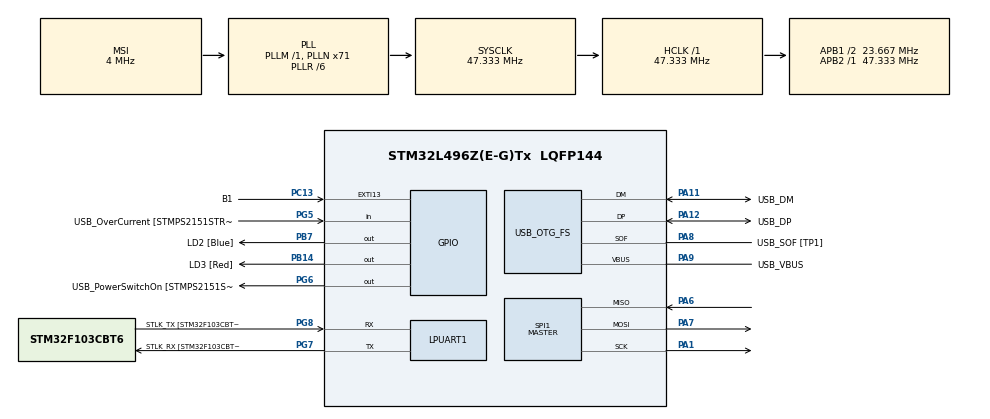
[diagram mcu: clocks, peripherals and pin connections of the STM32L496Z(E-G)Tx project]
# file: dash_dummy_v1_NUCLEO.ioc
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Dma.Request0=SPI1_TX
Dma.SPI1_TX.0.Direction=DMA_MEMORY_TO_PERIPH
Dma.SPI1_TX.0.Instance=DMA1_Channel3
Dma.SPI1_TX.0.MemDataAlignment=DMA_MDATAALIGN_BYTE
Dma.SPI1_TX.0.MemInc=DMA_MINC_ENABLE
Dma.SPI1_TX.0.Mode=DMA_NORMAL
Dma.SPI1_TX.0.PeriphDataAlignment=DMA_PDATAALIGN_BYTE
Dma.SPI1_TX.0.PeriphInc=DMA_PINC_DISABLE
Dma.SPI1_TX.0.Priority=DMA_PRIORITY_LOW
Mcu.Family=STM32L4
Mcu.Name=STM32L496Z(E-G)Tx
Mcu.Package=LQFP144
NVIC.DMA1_Channel3_IRQn=true\:0\:0\:false\:false\:true\:false\:true\:true
NVIC.PriorityGroup=NVIC_PRIORITYGROUP_4
NVIC.SPI1_IRQn=true\:0\:0\:false\:false\:true\:true\:true\:true
NVIC.TIM4_IRQn=true\:15\:0\:false\:false\:true\:false\:true\:true
NVIC.TimeBase=TIM4_IRQn
NVIC.TimeBaseIP=TIM4
PA1.Mode=Full_Duplex_Master
PA1.Signal=SPI1_SCK
PA10.GPIO_Label=USB_ID
PA10.Signal=USB_OTG_FS_ID
PA11.GPIO_Label=USB_DM
PA11.Mode=Device_Only
PA11.Signal=USB_OTG_FS_DM
PA12.GPIO_Label=USB_DP
PA12.Mode=Device_Only
PA12.Signal=USB_OTG_FS_DP
PA13\ (JTMS/SWDIO).GPIO_Label=TMS
PA13\ (JTMS/SWDIO).Mode=Trace_Asynchronous_SW
PA13\ (JTMS/SWDIO).Signal=SYS_JTMS-SWDIO
PA14\ (JTCK/SWCLK).GPIO_Label=TCK
PA14\ (JTCK/SWCLK).Mode=Trace_Asynchronous_SW
PA14\ (JTCK/SWCLK).Signal=SYS_JTCK-SWCLK
PA6.Mode=Full_Duplex_Master
PA6.Signal=SPI1_MISO
PA7.Mode=Full_Duplex_Master
PA7.Signal=SPI1_MOSI
PA8.GPIO_Label=USB_SOF [TP1]
PA8.Mode=Activate_SOF_FS
PA8.Signal=USB_OTG_FS_SOF
PA9.GPIO_Label=USB_VBUS
PA9.Mode=Activate_VBUS
PA9.Signal=USB_OTG_FS_VBUS
PB14.GPIO_Label=LD3 [Red]
PB14.Signal=GPIO_Output
PB3\ (JTDO/TRACESWO).GPIO_Label=SWO
PB3\ (JTDO/TRACESWO).Mode=Trace_Asynchronous_SW
PB3\ (JTDO/TRACESWO).Signal=SYS_JTDO-SWO
PB7.GPIO_Label=LD2 [Blue]
PB7.Signal=GPIO_Output
PC13.GPIO_Label=B1
PC13.Signal=GPXTI13
PC14-OSC32_IN\ (PC14).Mode=LSE-External-Oscillator
PC14-OSC32_IN\ (PC14).Signal=RCC_OSC32_IN
PC15-OSC32_OUT\ (PC15).Mode=LSE-External-Oscillator
PC15-OSC32_OUT\ (PC15).Signal=RCC_OSC32_OUT
PG5.GPIO_Label=USB_OverCurrent [STMPS2151STR_FAULT]
PG5.Signal=GPIO_Input
PG6.GPIO_Label=USB_PowerSwitchOn [STMPS2151STR_EN]
PG6.Signal=GPIO_Output
PG7.GPIO_Label=STLK_RX [STM32F103CBT6_PA3]
PG7.Mode=Asynchronous
PG7.Signal=LPUART1_TX
PG8.GPIO_Label=STLK_TX [STM32F103CBT6_PA2]
PG8.Mode=Asynchronous
PG8.Signal=LPUART1_RX
PH0-OSC_IN\ (PH0).Mode=HSE-External-Oscillator
PH0-OSC_IN\ (PH0).Signal=RCC_OSC_IN
PH1-OSC_OUT\ (PH1).Mode=HSE-External-Oscillator
PH1-OSC_OUT\ (PH1).Signal=RCC_OSC_OUT
ProjectManager.HeapSize=0x200
ProjectManager.StackSize=0x400
ProjectManager.TargetToolchain=STM32CubeIDE
RCC.48MHZClocksFreq_Value=24000000
RCC.ADCFreq_Value=48000000
RCC.AHBFreq_Value=47333333.333333336
RCC.APB1CLKDivider=RCC_HCLK_DIV2
RCC.APB1Freq_Value=23666666.666666668
RCC.APB1TimFreq_Value=47333333.333333336
RCC.APB2Freq_Value=47333333.333333336
RCC.APB2TimFreq_Value=47333333.333333336
RCC.CortexFreq_Value=47333333.333333336
RCC.HCLKFreq_Value=47333333.333333336
RCC.HSE_VALUE=8000000
RCC.HSI48_VALUE=48000000
RCC.HSI_VALUE=16000000
RCC.MSI_VALUE=4000000
RCC.PLLMUL=RCC_PLL_MUL9
RCC.PLLN=71
RCC.PLLR=RCC_PLLR_DIV6
RCC.PLLSAI1N=24
RCC.PRESCALERUSB=RCC_USBCLKSOURCE_PLL_DIV1_5
RCC.RTCClockSelection=RCC_RTCCLKSOURCE_LSE
RCC.SYSCLKFreq_VALUE=47333333.333333336
RCC.SYSCLKSource=RCC_SYSCLKSOURCE_PLLCLK
RCC.SYSCLKSourceVirtual=RCC_SYSCLKSOURCE_PLLCLK
RCC.USBFreq_Value=48000000
RCC.VCOOutputFreq_Value=284000000
SPI1.CalculateBaudRate=23.666666 MBits/s
SPI1.DataSize=SPI_DATASIZE_8BIT
SPI1.Direction=SPI_DIRECTION_2LINES
SPI1.Mode=SPI_MODE_MASTER
SPI1.VirtualType=VM_MASTER
USB_OTG_FS.VirtualMode=Device_Only
VP_RTC_VS_RTC_Activate.Mode=RTC_Enabled
VP_SYS_VS_tim4.Mode=TIM4
board=NUCLEO-L496ZG

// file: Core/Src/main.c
/* USER CODE BEGIN Header */
/**
  ******************************************************************************
  * @file           : main.c
  * @brief          : Main program body
  ******************************************************************************
  * @attention
  *
  * Copyright (c) 2024 STMicroelectronics.
  * All rights reserved.
  *
  * This software is licensed under terms that can be found in the LICENSE file
  * in the root directory of this software component.
  * If no LICENSE file comes with this software, it is provided AS-IS.
  *
  ******************************************************************************
  */
/* USER CODE END Header */
#include "main.h"

/* USER CODE BEGIN Includes */
#include "bmp.h"
#include "fonts.h"
#include "ili9341.h"
#include "lcd_io_spi.h"
#include "lcd.h"
#include "stm32_adafruit_lcd.h"
#include "stm32_adafruit_ts.h"
#include "ts.h"
/* USER CODE END Includes */

UART_HandleTypeDef hlpuart1;

RTC_HandleTypeDef hrtc;

SPI_HandleTypeDef hspi1;
DMA_HandleTypeDef hdma_spi1_tx;

PCD_HandleTypeDef hpcd_USB_OTG_FS;

void SystemClock_Config(void);
static void MX_GPIO_Init(void);
static void MX_DMA_Init(void);
static void MX_LPUART1_UART_Init(void);
static void MX_USB_OTG_FS_PCD_Init(void);
static void MX_SPI1_Init(void);
static void MX_RTC_Init(void);
/* USER CODE BEGIN PFP */
void mainApp(void);
/* USER CODE END PFP */

int main(void)
{

  /* USER CODE BEGIN 1 */

	int contador = 0;
	BSP_LCD_DisplayOn();
	contador ++;
	BSP_LCD_Clear(LCD_COLOR_BLACK);
	contador ++;
	BSP_LCD_Init();
	contador ++;
	BSP_LCD_SetFont(&Font8);

  /* USER CODE END 1 */

  /* MCU Configuration--------------------------------------------------------*/

  /* Reset of all peripherals, Initializes the Flash interface and the Systick. */
  HAL_Init();

  /* Configure the system clock */
  SystemClock_Config();

  /* Initialize all configured peripherals */
  MX_GPIO_Init();
  MX_DMA_Init();
  MX_LPUART1_UART_Init();
  MX_USB_OTG_FS_PCD_Init();
  MX_SPI1_Init();
  MX_RTC_Init();

  /* Infinite loop */
  /* USER CODE BEGIN WHILE */
  while (1)
  {
	  mainApp();
	  char string = "Carmen Ha Estado Aqui";

	  BSP_LCD_DrawRect(0, 0, 320, 240);

	  BSP_LCD_DisplayStringAt(10, 10, &string, CENTER_MODE);

    /* USER CODE END WHILE */

  }
}

void SystemClock_Config(void)
{
  RCC_OscInitTypeDef RCC_OscInitStruct = {0};
  RCC_ClkInitTypeDef RCC_ClkInitStruct = {0};

  /** Configure the main internal regulator output voltage
  */
  if (HAL_PWREx_ControlVoltageScaling(PWR_REGULATOR_VOLTAGE_SCALE1) != HAL_OK)
  {
    Error_Handler();
  }

  /** Configure LSE Drive Capability
  */
  HAL_PWR_EnableBkUpAccess();
  __HAL_RCC_LSEDRIVE_CONFIG(RCC_LSEDRIVE_LOW);

  /** Initializes the RCC Oscillators according to the specified parameters
  * in the RCC_OscInitTypeDef structure.
  */
  RCC_OscInitStruct.OscillatorType = RCC_OSCILLATORTYPE_LSE|RCC_OSCILLATORTYPE_MSI;
  RCC_OscInitStruct.LSEState = RCC_LSE_ON;
  RCC_OscInitStruct.MSIState = RCC_MSI_ON;
  RCC_OscInitStruct.MSICalibrationValue = 0;
  RCC_OscInitStruct.MSIClockRange = RCC_MSIRANGE_6;
  RCC_OscInitStruct.PLL.PLLState = RCC_PLL_ON;
  RCC_OscInitStruct.PLL.PLLSource = RCC_PLLSOURCE_MSI;
  RCC_OscInitStruct.PLL.PLLM = 1;
  RCC_OscInitStruct.PLL.PLLN = 71;
  RCC_OscInitStruct.PLL.PLLP = RCC_PLLP_DIV2;
  RCC_OscInitStruct.PLL.PLLQ = RCC_PLLQ_DIV2;
  RCC_OscInitStruct.PLL.PLLR = RCC_PLLR_DIV6;
  if (HAL_RCC_OscConfig(&RCC_OscInitStruct) != HAL_OK)
  {
    Error_Handler();
  }

  /** Initializes the CPU, AHB and APB buses clocks
  */
  RCC_ClkInitStruct.ClockType = RCC_CLOCKTYPE_HCLK|RCC_CLOCKTYPE_SYSCLK
                              |RCC_CLOCKTYPE_PCLK1|RCC_CLOCKTYPE_PCLK2;
  RCC_ClkInitStruct.SYSCLKSource = RCC_SYSCLKSOURCE_PLLCLK;
  RCC_ClkInitStruct.AHBCLKDivider = RCC_SYSCLK_DIV1;
  RCC_ClkInitStruct.APB1CLKDivider = RCC_HCLK_DIV2;
  RCC_ClkInitStruct.APB2CLKDivider = RCC_HCLK_DIV1;

  if (HAL_RCC_ClockConfig(&RCC_ClkInitStruct, FLASH_LATENCY_2) != HAL_OK)
  {
    Error_Handler();
  }

  /** Enable MSI Auto calibration
  */
  HAL_RCCEx_EnableMSIPLLMode();
}

static void MX_LPUART1_UART_Init(void)
{

  hlpuart1.Instance = LPUART1;
  hlpuart1.Init.BaudRate = 209700;
  hlpuart1.Init.WordLength = UART_WORDLENGTH_7B;
  hlpuart1.Init.StopBits = UART_STOPBITS_1;
  hlpuart1.Init.Parity = UART_PARITY_NONE;
  hlpuart1.Init.Mode = UART_MODE_TX_RX;
  hlpuart1.Init.HwFlowCtl = UART_HWCONTROL_NONE;
  hlpuart1.Init.OneBitSampling = UART_ONE_BIT_SAMPLE_DISABLE;
  hlpuart1.AdvancedInit.AdvFeatureInit = UART_ADVFEATURE_NO_INIT;
  if (HAL_UART_Init(&hlpuart1) != HAL_OK)
  {
    Error_Handler();
  }

}

static void MX_RTC_Init(void)
{

  /** Initialize RTC Only
  */
  hrtc.Instance = RTC;
  hrtc.Init.HourFormat = RTC_HOURFORMAT_24;
  hrtc.Init.AsynchPrediv = 127;
  hrtc.Init.SynchPrediv = 255;
  hrtc.Init.OutPut = RTC_OUTPUT_DISABLE;
  hrtc.Init.OutPutRemap = RTC_OUTPUT_REMAP_NONE;
  hrtc.Init.OutPutPolarity = RTC_OUTPUT_POLARITY_HIGH;
  hrtc.Init.OutPutType = RTC_OUTPUT_TYPE_OPENDRAIN;
  if (HAL_RTC_Init(&hrtc) != HAL_OK)
  {
    Error_Handler();
  }

}

static void MX_SPI1_Init(void)
{

  /* SPI1 parameter configuration*/
  hspi1.Instance = SPI1;
  hspi1.Init.Mode = SPI_MODE_MASTER;
  hspi1.Init.Direction = SPI_DIRECTION_2LINES;
  hspi1.Init.DataSize = SPI_DATASIZE_8BIT;
  hspi1.Init.CLKPolarity = SPI_POLARITY_LOW;
  hspi1.Init.CLKPhase = SPI_PHASE_1EDGE;
  hspi1.Init.NSS = SPI_NSS_SOFT;
  hspi1.Init.BaudRatePrescaler = SPI_BAUDRATEPRESCALER_2;
  hspi1.Init.FirstBit = SPI_FIRSTBIT_MSB;
  hspi1.Init.TIMode = SPI_TIMODE_DISABLE;
  hspi1.Init.CRCCalculation = SPI_CRCCALCULATION_DISABLE;
  hspi1.Init.CRCPolynomial = 7;
  hspi1.Init.CRCLength = SPI_CRC_LENGTH_DATASIZE;
  hspi1.Init.NSSPMode = SPI_NSS_PULSE_ENABLE;
  if (HAL_SPI_Init(&hspi1) != HAL_OK)
  {
    Error_Handler();
  }

}

static void MX_USB_OTG_FS_PCD_Init(void)
{

  hpcd_USB_OTG_FS.Instance = USB_OTG_FS;
  hpcd_USB_OTG_FS.Init.dev_endpoints = 6;
  hpcd_USB_OTG_FS.Init.speed = PCD_SPEED_FULL;
  hpcd_USB_OTG_FS.Init.phy_itface = PCD_PHY_EMBEDDED;
  hpcd_USB_OTG_FS.Init.Sof_enable = ENABLE;
  hpcd_USB_OTG_FS.Init.low_power_enable = DISABLE;
  hpcd_USB_OTG_FS.Init.lpm_enable = DISABLE;
  hpcd_USB_OTG_FS.Init.battery_charging_enable = ENABLE;
  hpcd_USB_OTG_FS.Init.use_dedicated_ep1 = DISABLE;
  hpcd_USB_OTG_FS.Init.vbus_sensing_enable = ENABLE;
  if (HAL_PCD_Init(&hpcd_USB_OTG_FS) != HAL_OK)
  {
    Error_Handler();
  }

}

static void MX_DMA_Init(void)
{

  /* DMA controller clock enable */
  __HAL_RCC_DMA1_CLK_ENABLE();

  /* DMA interrupt init */
  /* DMA1_Channel3_IRQn interrupt configuration */
  HAL_NVIC_SetPriority(DMA1_Channel3_IRQn, 0, 0);
  HAL_NVIC_EnableIRQ(DMA1_Channel3_IRQn);

}

static void MX_GPIO_Init(void)
{
  GPIO_InitTypeDef GPIO_InitStruct = {0};

  /* GPIO Ports Clock Enable */
  __HAL_RCC_GPIOC_CLK_ENABLE();
  __HAL_RCC_GPIOH_CLK_ENABLE();
  __HAL_RCC_GPIOA_CLK_ENABLE();
  __HAL_RCC_GPIOB_CLK_ENABLE();
  __HAL_RCC_GPIOG_CLK_ENABLE();
  HAL_PWREx_EnableVddIO2();

  /*Configure GPIO pin Output Level */
  HAL_GPIO_WritePin(GPIOB, LD3_Pin|LD2_Pin, GPIO_PIN_RESET);

  /*Configure GPIO pin Output Level */
  HAL_GPIO_WritePin(USB_PowerSwitchOn_GPIO_Port, USB_PowerSwitchOn_Pin, GPIO_PIN_RESET);

  /*Configure GPIO pin : B1_Pin */
  GPIO_InitStruct.Pin = B1_Pin;
  GPIO_InitStruct.Mode = GPIO_MODE_IT_RISING;
  GPIO_InitStruct.Pull = GPIO_NOPULL;
  HAL_GPIO_Init(B1_GPIO_Port, &GPIO_InitStruct);

  /*Configure GPIO pins : LD3_Pin LD2_Pin */
  GPIO_InitStruct.Pin = LD3_Pin|LD2_Pin;
  GPIO_InitStruct.Mode = GPIO_MODE_OUTPUT_PP;
  GPIO_InitStruct.Pull = GPIO_NOPULL;
  GPIO_InitStruct.Speed = GPIO_SPEED_FREQ_LOW;
  HAL_GPIO_Init(GPIOB, &GPIO_InitStruct);

  /*Configure GPIO pin : USB_OverCurrent_Pin */
  GPIO_InitStruct.Pin = USB_OverCurrent_Pin;
  GPIO_InitStruct.Mode = GPIO_MODE_INPUT;
  GPIO_InitStruct.Pull = GPIO_NOPULL;
  HAL_GPIO_Init(USB_OverCurrent_GPIO_Port, &GPIO_InitStruct);

  /*Configure GPIO pin : USB_PowerSwitchOn_Pin */
  GPIO_InitStruct.Pin = USB_PowerSwitchOn_Pin;
  GPIO_InitStruct.Mode = GPIO_MODE_OUTPUT_PP;
  GPIO_InitStruct.Pull = GPIO_NOPULL;
  GPIO_InitStruct.Speed = GPIO_SPEED_FREQ_LOW;
  HAL_GPIO_Init(USB_PowerSwitchOn_GPIO_Port, &GPIO_InitStruct);

}

void HAL_TIM_PeriodElapsedCallback(TIM_HandleTypeDef *htim)
{
  if (htim->Instance == TIM4) {
    HAL_IncTick();
  }
}

void Error_Handler(void)
{
  __disable_irq();
  while (1)
  {
  }
}
